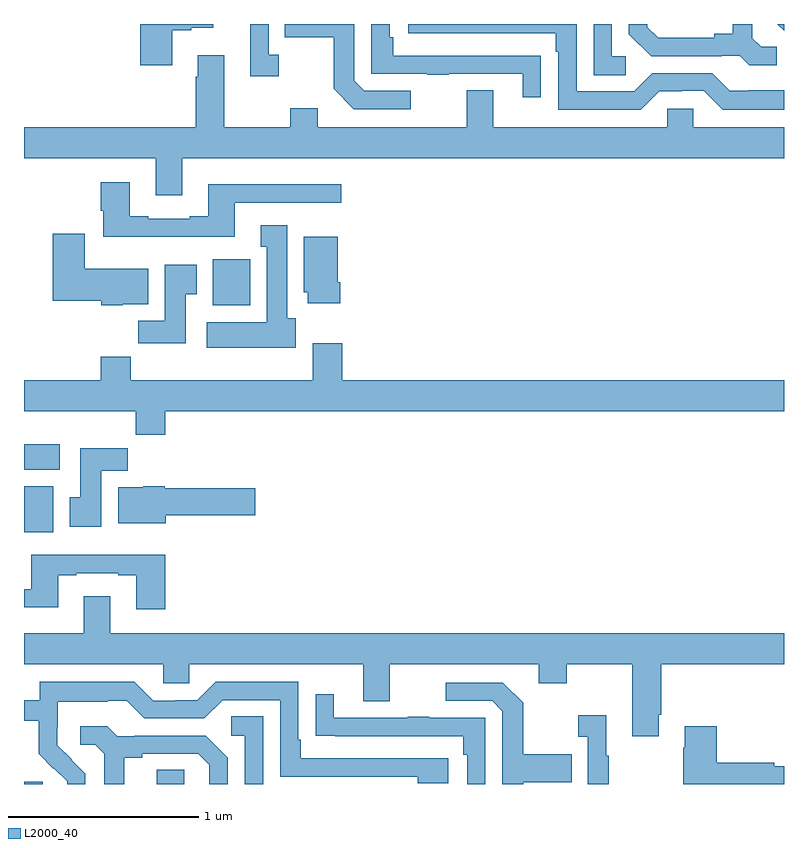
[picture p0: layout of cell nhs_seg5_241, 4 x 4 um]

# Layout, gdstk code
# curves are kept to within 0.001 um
import gdstk
lib = gdstk.Library(unit=1e-6, precision=1e-09)
def R(c, l, rs):  # rectangles x0, y0, x1, y1
    for r in rs: c.add(gdstk.rectangle(r[:2], r[2:], *l))
def P(c, l, *ps):  # polygons
    for p in ps: c.add(gdstk.Polygon(p, *l))
L2000_40 = (2000, 40)

nhs_seg5_241 = lib.new_cell('nhs_seg5_241')
R(nhs_seg5_241, L2000_40, [(125,854.799,125.098,854.811), (125.699,854.799,125.844,854.873), (125,856.124,125.155,856.366), (125,856.454,125.188,856.588), (125.993,857.318,126.19,857.56)])
P(nhs_seg5_241, L2000_40, [(126.34,858.638),(126.288,858.638),(126.288,858.799),(126.191,858.799),(126.191,858.525),(126.34,858.525)],
  [(129,858.799),(128.965,858.799),(129,858.764)],
  [(129,858.451),(128.815,858.451),(128.815,858.447),(128.715,858.447),(128.622,858.54),(128.307,858.54),(128.211,858.444),(127.908,858.444),(127.908,858.799),(127.023,858.799),(127.023,858.75),(127.799,858.75),(127.799,858.653),(127.812,858.653),(127.812,858.348),(128.247,858.348),(128.343,858.444),(128.462,858.444),(128.462,858.447),(128.577,858.447),(128.677,858.347),(129,858.347)],
  [(128.167,858.63),(128.094,858.63),(128.094,858.799),(127.998,858.799),(127.998,858.529),(128.167,858.529)],
  [(127.721,858.632),(127.619,858.632),(127.619,858.633),(126.944,858.633),(126.944,858.73),(126.924,858.73),(126.924,858.799),(126.828,858.799),(126.828,858.537),(127.123,858.537),(127.123,858.532),(127.235,858.532),(127.235,858.537),(127.625,858.537),(127.625,858.414),(127.721,858.414)],
  [(128.962,858.678),(128.88,858.678),(128.833,858.725),(128.833,858.799),(128.729,858.799),(128.729,858.749),(128.633,858.749),(128.633,858.726),(128.338,858.726),(128.281,858.783),(128.281,858.799),(128.184,858.799),(128.184,858.746),(128.3,858.63),(128.672,858.63),(128.672,858.633),(128.766,858.633),(128.818,858.581),(128.962,858.581)],
  [(127.036,858.447),(126.792,858.447),(126.738,858.501),(126.738,858.799),(126.373,858.799),(126.373,858.73),(126.63,858.73),(126.63,858.457),(126.735,858.351),(127.036,858.351)],
  [(125.779,858.767),(125.879,858.767),(125.879,858.779),(125.995,858.779),(125.995,858.799),(125.612,858.799),(125.612,858.582),(125.779,858.582)],
  [(125.833,858.092),(129,858.092),(129,858.256),(128.523,858.256),(128.523,858.354),(128.385,858.354),(128.385,858.256),(127.471,858.256),(127.471,858.451),(127.331,858.451),(127.331,858.256),(126.547,858.256),(126.547,858.355),(126.4,858.355),(126.4,858.256),(126.055,858.256),(126.055,858.634),(125.915,858.634),(125.915,858.521),(125.903,858.521),(125.903,858.256),(125,858.256),(125,858.092),(125.693,858.092),(125.693,857.898),(125.833,857.898)],
  [(126.109,857.859),(126.67,857.859),(126.67,857.956),(125.969,857.956),(125.969,857.788),(125.873,857.788),(125.873,857.775),(125.653,857.775),(125.653,857.788),(125.557,857.788),(125.557,857.965),(125.405,857.965),(125.405,857.817),(125.417,857.817),(125.417,857.678),(126.109,857.678)],
  [(126.43,857.25),(126.385,857.25),(126.385,857.74),(126.245,857.74),(126.245,857.627),(126.278,857.627),(126.278,857.23),(125.961,857.23),(125.961,857.096),(126.43,857.096)],
  [(125.52,857.324),(125.653,857.324),(125.653,857.512),(125.32,857.512),(125.32,857.695),(125.15,857.695),(125.15,857.342),(125.406,857.342),(125.406,857.318),(125.52,857.318)],
  [(126.665,857.44),(126.652,857.44),(126.652,857.68),(126.473,857.68),(126.473,857.388),(126.494,857.388),(126.494,857.328),(126.665,857.328)],
  [(125.851,857.377),(125.908,857.377),(125.908,857.533),(125.741,857.533),(125.741,857.236),(125.602,857.236),(125.602,857.118),(125.851,857.118)],
  [(125.561,857.048),(125.405,857.048),(125.405,856.924),(125,856.924),(125,856.76),(125.587,856.76),(125.587,856.636),(125.744,856.636),(125.744,856.76),(129,856.76),(129,856.924),(126.674,856.924),(126.674,857.119),(126.521,857.119),(126.521,856.924),(125.561,856.924)],
  [(125.407,856.448),(125.546,856.448),(125.546,856.567),(125.297,856.567),(125.297,856.308),(125.24,856.308),(125.24,856.152),(125.407,856.152)],
  [(125.746,856.214),(126.217,856.214),(126.217,856.356),(125.742,856.356),(125.742,856.366),(125.628,856.366),(125.628,856.36),(125.495,856.36),(125.495,856.172),(125.746,856.172)],
  [(125.744,856.006),(125.039,856.006),(125.039,855.825),(125,855.825),(125,855.728),(125.179,855.728),(125.179,855.897),(125.275,855.897),(125.275,855.909),(125.495,855.909),(125.495,855.897),(125.591,855.897),(125.591,855.72),(125.744,855.72)],
  [(128.341,855.163),(128.354,855.163),(128.354,855.428),(129,855.428),(129,855.592),(125.455,855.592),(125.455,855.787),(125.315,855.787),(125.315,855.592),(125,855.592),(125,855.428),(125.733,855.428),(125.733,855.33),(125.871,855.33),(125.871,855.428),(126.785,855.428),(126.785,855.234),(126.925,855.234),(126.925,855.428),(127.709,855.428),(127.709,855.329),(127.857,855.329),(127.857,855.428),(128.201,855.428),(128.201,855.051),(128.341,855.051)],
  [(125.322,854.854),(125.176,855.002),(125.176,855.099),(125.178,855.099),(125.178,855.233),(125.441,855.233),(125.441,855.237),(125.541,855.237),(125.634,855.144),(125.949,855.144),(126.045,855.24),(126.348,855.24),(126.348,854.838),(127.073,854.838),(127.073,854.804),(127.234,854.804),(127.234,854.934),(126.457,854.934),(126.457,855.031),(126.444,855.031),(126.444,855.336),(126.009,855.336),(125.913,855.24),(125.795,855.24),(125.795,855.237),(125.679,855.237),(125.579,855.337),(125.082,855.337),(125.082,855.24),(125,855.24),(125,855.132),(125.077,855.132),(125.077,854.957),(125.154,854.88),(125.157,854.883),(125.228,854.813),(125.228,854.799),(125.322,854.799)],
  [(127.627,854.807),(127.883,854.807),(127.883,854.955),(127.627,854.955),(127.627,855.227),(127.521,855.333),(127.221,855.333),(127.221,855.237),(127.464,855.237),(127.518,855.183),(127.518,854.799),(127.627,854.799)],
  [(127.428,855.147),(127.133,855.147),(127.133,855.152),(127.021,855.152),(127.021,855.147),(126.631,855.147),(126.631,855.271),(126.535,855.271),(126.535,855.052),(126.637,855.052),(126.637,855.051),(127.312,855.051),(127.312,854.954),(127.332,854.954),(127.332,854.799),(127.428,854.799)],
  [(128.077,854.947),(128.065,854.947),(128.065,855.16),(127.917,855.16),(127.917,855.047),(127.968,855.047),(127.968,854.799),(128.077,854.799)],
  [(126.258,855.155),(126.09,855.155),(126.09,855.054),(126.162,855.054),(126.162,854.799),(126.258,854.799)],
  [(125.527,854.936),(125.623,854.936),(125.623,854.958),(125.918,854.958),(125.975,854.901),(125.975,854.799),(126.072,854.799),(126.072,854.938),(125.956,855.054),(125.584,855.054),(125.584,855.051),(125.49,855.051),(125.438,855.103),(125.295,855.103),(125.295,855.006),(125.376,855.006),(125.423,854.959),(125.423,854.799),(125.527,854.799)],
  [(129,854.893),(128.948,854.893),(128.948,854.912),(128.645,854.912),(128.645,855.103),(128.477,855.103),(128.477,854.99),(128.47,854.99),(128.47,854.799),(129,854.799)])

lib.write_gds('nhs_seg5_241.gds')
